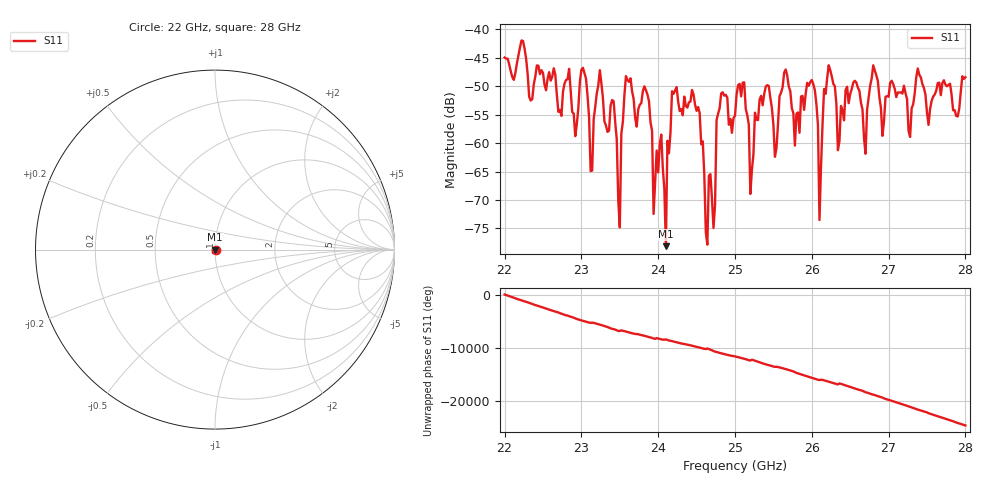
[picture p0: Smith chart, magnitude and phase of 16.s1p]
#  HZ  S  RI  R  50.00
! Rohde & Schwarz ZVA40 4Ports - Version 3.90 - 1145.1110k42 SN: 100403
! Date: 2023-10-04 05:56:57
! Measurement: S12
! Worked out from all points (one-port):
!   301 points, 22 GHz to 28 GHz, reference 50 ohm
!   lowest |S11| = -78.1 dB at 24.1 GHz (marker M1), VSWR 1.00, Z = 50 - j0.00683 ohm
!   |S11| at or under -10 dB: start of sweep to end of sweep
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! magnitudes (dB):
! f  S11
! 22 GHz  -45.0
! 22.76 GHz  -51.0
! 23.02 GHz  -46.8
! 23.12 GHz  -64.9
! 23.24 GHz  -47.2
! 23.42 GHz  -52.6
! 23.5 GHz  -74.8
! 23.58 GHz  -48.2
! 23.88 GHz  -52.6
! 23.94 GHz  -72.5
! 24.04 GHz  -58.5
! 24.1 GHz  -78.1
! 24.12 GHz  -59.6
! 24.26 GHz  -52.7
! 24.54 GHz  -54.7
! 24.64 GHz  -77.9
! 24.82 GHz  -51.3
! 25 GHz  -55.2
! 25.12 GHz  -49.3
! 25.2 GHz  -68.9
! 25.4 GHz  -50.1
! 25.76 GHz  -54.7
! 26.04 GHz  -50.7
! 26.1 GHz  -73.5
! 26.22 GHz  -46.3
! 26.5 GHz  -51.4
! 27.26 GHz  -57.9
! 28 GHz  -48.4
